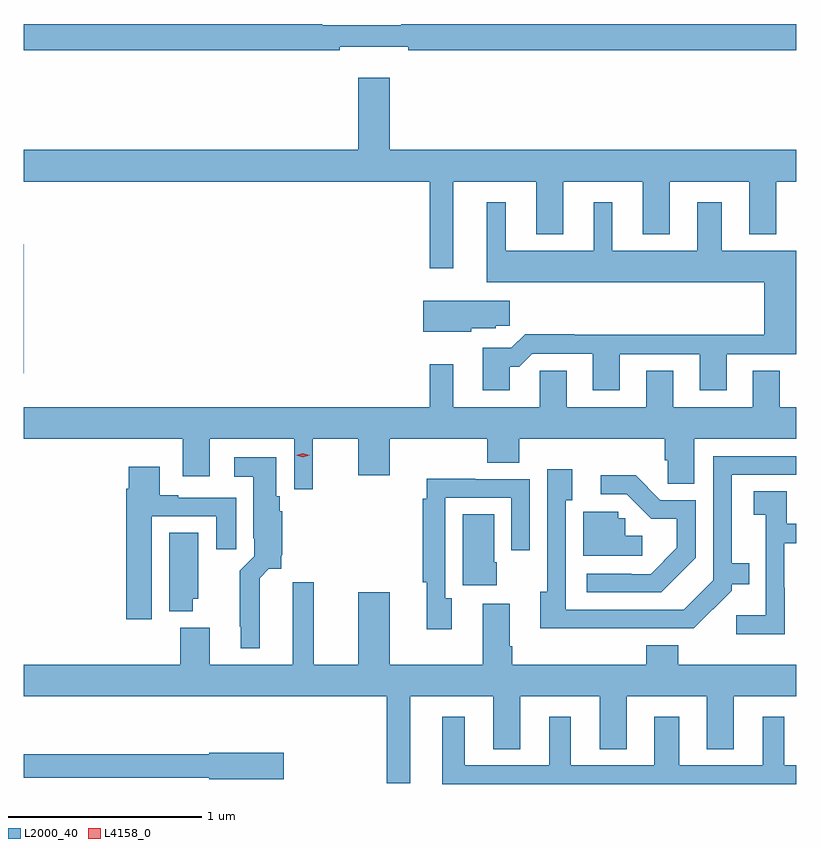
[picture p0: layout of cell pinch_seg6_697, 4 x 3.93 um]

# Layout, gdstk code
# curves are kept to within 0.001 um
import gdstk
lib = gdstk.Library(unit=1e-6, precision=1e-09)
def R(c, l, rs):  # rectangles x0, y0, x1, y1
    for r in rs: c.add(gdstk.rectangle(r[:2], r[2:], *l))
def P(c, l, *ps):  # polygons
    for p in ps: c.add(gdstk.Polygon(p, *l))
L2000_40 = (2000, 40)
L4158_0 = (4158, 0)

pinch_seg6_697 = lib.new_cell('pinch_seg6_697')
R(pinch_seg6_697, L2000_40, [(474.964,950.34,474.965,951.007)])
P(pinch_seg6_697, L2000_40, [(476.6,952.031),(476.956,952.031),(476.956,952.012),(478.964,952.012),(478.964,952.148),(476.92,952.148),(476.92,952.141),(476.509,952.141),(476.509,952.148),(474.964,952.148),(474.964,952.012),(476.6,952.012)],
  [(477.187,951.332),(477.617,951.332),(477.617,951.059),(477.757,951.059),(477.757,951.332),(478.169,951.332),(478.169,951.059),(478.309,951.059),(478.309,951.332),(478.721,951.332),(478.721,951.059),(478.861,951.059),(478.861,951.332),(478.964,951.332),(478.964,951.496),(476.86,951.496),(476.86,951.871),(476.696,951.871),(476.696,951.496),(474.964,951.496),(474.964,951.332),(477.066,951.332),(477.066,950.883),(477.187,950.883)],
  [(477.481,950.375),(477.53,950.375),(477.597,950.442),(477.911,950.442),(477.911,950.253),(478.051,950.253),(478.051,950.439),(478.463,950.439),(478.463,950.253),(478.603,950.253),(478.603,950.439),(478.964,950.439),(478.964,950.974),(478.579,950.974),(478.579,951.226),(478.451,951.226),(478.451,950.974),(478.012,950.974),(478.012,951.226),(477.914,951.226),(477.914,950.974),(477.46,950.974),(477.46,951.226),(477.362,951.226),(477.362,950.81),(478.799,950.81),(478.799,950.54),(477.815,950.54),(477.815,950.543),(477.56,950.543),(477.489,950.472),(477.341,950.472),(477.341,950.253),(477.481,950.253)],
  [(477.282,950.573),(477.408,950.573),(477.408,950.587),(477.481,950.587),(477.481,950.716),(477.032,950.716),(477.032,950.555),(477.282,950.555)],
  [(476.46,950),(476.696,950),(476.696,949.812),(476.86,949.812),(476.86,950),(477.365,950),(477.365,949.876),(477.53,949.876),(477.53,950),(478.283,950),(478.283,949.89),(478.297,949.89),(478.297,949.768),(478.435,949.768),(478.435,950),(478.964,950),(478.964,950.164),(478.879,950.164),(478.879,950.354),(478.739,950.354),(478.739,950.164),(478.327,950.164),(478.327,950.354),(478.187,950.354),(478.187,950.164),(477.775,950.164),(477.775,950.354),(477.636,950.354),(477.636,950.164),(477.187,950.164),(477.187,950.386),(477.066,950.386),(477.066,950.164),(474.964,950.164),(474.964,950),(475.787,950),(475.787,949.806),(475.927,949.806),(475.927,950),(476.364,950),(476.364,949.74),(476.46,949.74)],
  [(478.103,949.02),(478.434,949.02),(478.629,949.215),(478.629,949.247),(478.721,949.247),(478.721,949.357),(478.63,949.357),(478.63,949.815),(478.964,949.815),(478.964,949.911),(478.533,949.911),(478.533,949.269),(478.38,949.116),(477.771,949.116),(477.771,949.682),(477.805,949.682),(477.805,949.843),(477.675,949.843),(477.675,949.21),(477.638,949.21),(477.638,949.019)],
  [(476.185,949.28),(476.232,949.328),(476.297,949.328),(476.297,949.394),(476.303,949.4),(476.303,949.626),(476.291,949.626),(476.291,949.704),(476.272,949.704),(476.272,949.906),(476.055,949.906),(476.055,949.805),(476.153,949.805),(476.153,949.486),(476.157,949.486),(476.157,949.392),(476.083,949.318),(476.083,949.027),(476.087,949.027),(476.087,948.917),(476.185,948.917)],
  [(475.627,949.599),(475.961,949.599),(475.961,949.428),(476.065,949.428),(476.065,949.695),(475.765,949.695),(475.765,949.708),(475.669,949.708),(475.669,949.855),(475.508,949.855),(475.508,949.742),(475.496,949.742),(475.496,949.068),(475.627,949.068)],
  [(478.443,949.385),(478.443,949.683),(478.26,949.683),(478.132,949.811),(477.951,949.811),(477.951,949.713),(478.086,949.713),(478.213,949.586),(478.346,949.586),(478.346,949.436),(478.209,949.299),(478.109,949.299),(478.109,949.302),(477.879,949.302),(477.879,949.206),(478.264,949.206)],
  [(477.181,949.175),(477.147,949.175),(477.147,949.695),(477.489,949.695),(477.489,949.425),(477.585,949.425),(477.585,949.791),(477.301,949.791),(477.301,949.795),(477.05,949.795),(477.05,949.691),(477.031,949.691),(477.031,949.258),(477.05,949.258),(477.05,949.014),(477.181,949.014)],
  [(478.905,949.229),(478.902,949.229),(478.902,949.461),(478.964,949.461),(478.964,949.56),(478.915,949.56),(478.915,949.73),(478.743,949.73),(478.743,949.609),(478.806,949.609),(478.806,949.087),(478.653,949.087),(478.653,948.989),(478.905,948.989)],
  [(478.165,949.498),(478.077,949.498),(478.077,949.59),(478.041,949.59),(478.041,949.623),(477.86,949.623),(477.86,949.395),(478.165,949.395)],
  [(477.412,949.362),(477.4,949.362),(477.4,949.61),(477.236,949.61),(477.236,949.244),(477.412,949.244)],
  [(475.84,949.173),(475.867,949.173),(475.867,949.514),(475.718,949.514),(475.718,949.109),(475.84,949.109)],
  [(476.965,948.668),(477.395,948.668),(477.395,948.395),(477.535,948.395),(477.535,948.668),(477.947,948.668),(477.947,948.395),(478.087,948.395),(478.087,948.668),(478.499,948.668),(478.499,948.395),(478.639,948.395),(478.639,948.668),(478.964,948.668),(478.964,948.832),(478.352,948.832),(478.352,948.931),(478.187,948.931),(478.187,948.832),(477.494,948.832),(477.494,948.928),(477.481,948.928),(477.481,949.147),(477.341,949.147),(477.341,948.832),(476.86,948.832),(476.86,949.207),(476.696,949.207),(476.696,948.832),(476.467,948.832),(476.467,949.258),(476.357,949.258),(476.357,948.832),(475.927,948.832),(475.927,949.024),(475.775,949.024),(475.775,948.832),(474.964,948.832),(474.964,948.668),(476.844,948.668),(476.844,948.219),(476.965,948.219)],
  [(478.964,948.31),(478.9,948.31),(478.9,948.562),(478.79,948.562),(478.79,948.31),(478.357,948.31),(478.357,948.562),(478.229,948.562),(478.229,948.31),(477.796,948.31),(477.796,948.562),(477.686,948.562),(477.686,948.31),(477.247,948.31),(477.247,948.562),(477.131,948.562),(477.131,948.214),(478.964,948.214)],
  [(476.311,948.375),(475.926,948.375),(475.926,948.367),(474.964,948.367),(474.964,948.246),(475.926,948.246),(475.926,948.238),(476.311,948.238)])
P(pinch_seg6_697, L4158_0, [(476.41,949.906),(476.376,949.916),(476.376,949.916),(476.376,949.916),(476.41,949.926),(476.444,949.916),(476.444,949.916),(476.444,949.916)])

lib.write_gds('pinch_seg6_697.gds')
